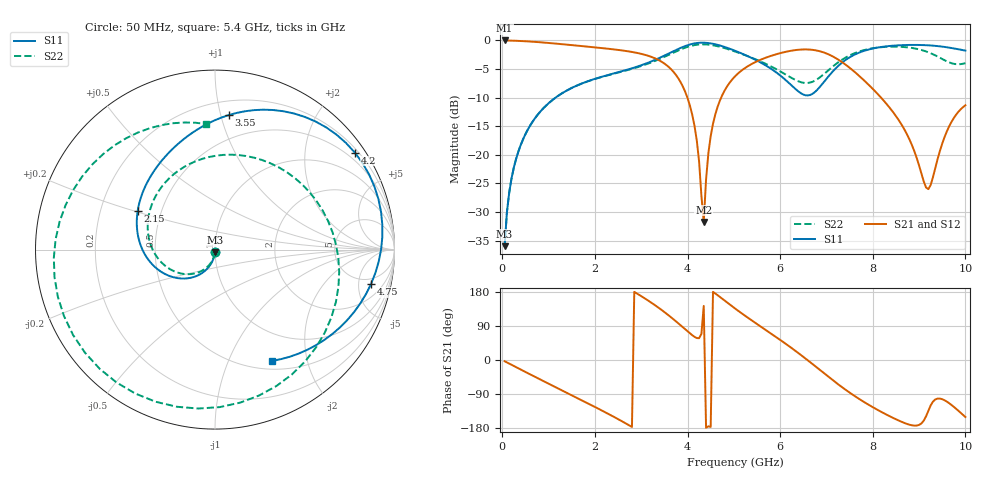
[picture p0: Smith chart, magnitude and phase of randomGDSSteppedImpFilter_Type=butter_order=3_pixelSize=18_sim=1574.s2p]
! freq	dB(S11)	phase(S11)	dB(S12)	phase(S12)
!  dB(S21)	phase(S21)	dB(S22)	phase(S22)
!S-par simulation data
#  GHz  S  DB  R 50
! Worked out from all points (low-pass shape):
!   200 points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, 50 MHz to 10 GHz, reference 50 ohm
!   highest |S21| = -0.01 dB at 50 MHz (marker M1); lowest = -31.8 dB at 4.35 GHz (marker M2)
!   |S21| within 3 dB of the highest: start of sweep to 3.26 GHz; 5.694 GHz to 7.183 GHz (1.488 GHz wide, 23.1 % of centre)
!   lowest |S11| = -36.0 dB at 50 MHz (marker M3), VSWR 1.03, Z = 49.9 - j1.58 ohm
!   |S11| at or under -10 dB: start of sweep to 1.151 GHz
!   |S22| runs from -36.0 to -0.7 dB; largest |S21 - S12| = 0
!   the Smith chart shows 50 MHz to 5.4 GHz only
!   S11 on the Smith chart (normalised r, x): 50 MHz: 1.00, -0.03; 2.15 GHz: 0.37, +0.20; 3.55 GHz: 0.31, +1.06; 4.2 GHz: 0.30, +3.17; 4.75 GHz: 3.89, -7.15; 5.4 GHz: 0.61, -1.46
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0.05  -35.99 -92.6  -0.01 -3.2  -0.01 -3.2  -35.99 -93.1
0.2  -24.11 -101.8  -0.04 -12.7  -0.04 -12.7  -24.12 -104.0
0.5  -16.39 -119.3  -0.15 -31.6  -0.15 -31.6  -16.40 -124.8
1.75  -7.43 173.3  -1.02 -108.4  -1.02 -108.4  -7.45 148.5
2.15  -6.35 153.6  -1.34 -133.3  -1.34 -133.3  -6.39 118.4
2.85  -4.75 120.6  -2.09 179.7  -2.09 179.7  -4.86 57.2
3.4  -3.03 92.9  -3.54 135.7  -3.54 135.7  -3.24 -3.9
3.55  -2.46 84.1  -4.35 121.9  -4.35 121.9  -2.69 -23.3
4.2  -0.46 34.7  -17.52 57.9  -17.52 57.9  -0.76 -119.0
4.35  -0.40 21.6  -31.77 142.7  -31.77 142.7  -0.68 -141.6
4.5  -0.51 8.5  -16.75 -176.7  -16.75 -176.7  -0.78 -163.3
4.75  -1.01 -12.4  -9.57 161.6  -9.57 161.6  -1.22 163.4
5.05  -1.89 -35.8  -6.09 133.7  -6.09 133.7  -2.01 128.6
5.4  -3.13 -62.7  -4.06 103.3  -4.06 103.3  -3.08 94.2
6  -6.12 -116.8  -2.23 53.1  -2.23 53.1  -5.41 49.1
6.7  -9.34 122.1  -1.65 -10.8  -1.65 -10.8  -7.23 31.8
7.55  -2.72 -3.6  -5.11 -90.2  -5.11 -90.2  -2.43 -4.3
8.35  -0.98 -63.7  -11.63 -147.5  -11.63 -147.5  -1.10 -60.1
8.9  -0.79 -95.4  -19.44 -173.2  -19.44 -173.2  -1.39 -106.5
9.2  -0.86 -112.0  -26.01 -134.0  -26.01 -134.0  -2.07 -141.3
9.4  -0.99 -123.2  -20.75 -101.8  -20.75 -101.8  -2.82 -171.8
10  -1.79 -161.0  -11.34 -150.5  -11.34 -150.5  -3.99 65.7
